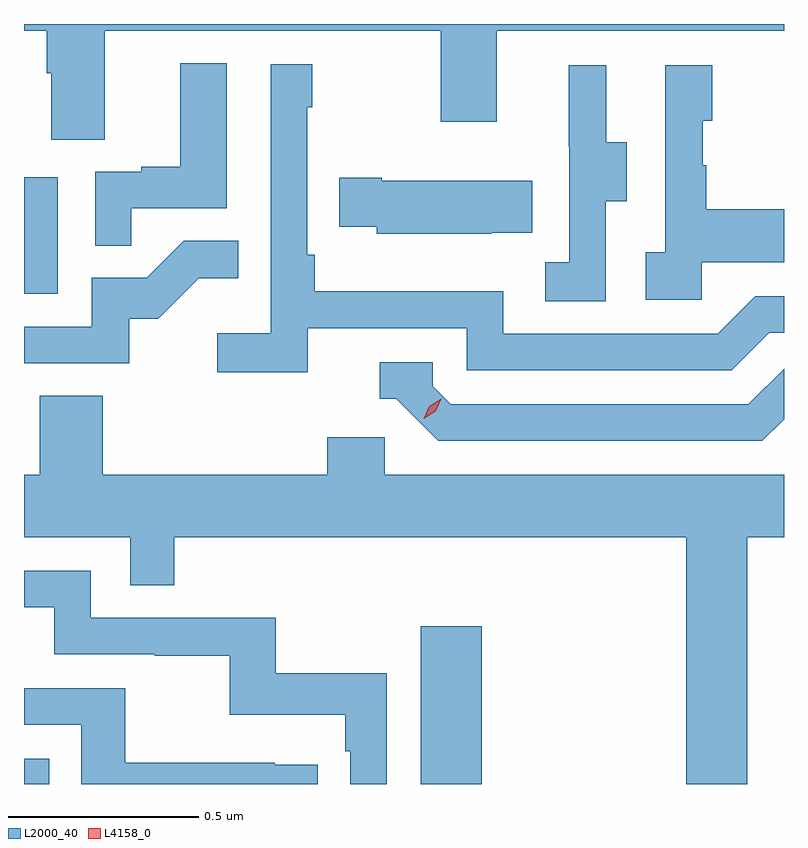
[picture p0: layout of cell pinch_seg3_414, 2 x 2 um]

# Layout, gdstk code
import gdstk
lib = gdstk.Library(unit=1e-6, precision=1e-09)
def R(c, l, rs):  # rectangles x0, y0, x1, y1
    for r in rs: c.add(gdstk.rectangle(r[:2], r[2:], *l))
def P(c, l, *ps):  # polygons
    for p in ps: c.add(gdstk.Polygon(p, *l))
L2000_40 = (2000, 40)
L4158_0 = (4158, 0)

pinch_seg3_414 = lib.new_cell('pinch_seg3_414')
R(pinch_seg3_414, L2000_40, [(938.177,697.602,938.243,697.668), (939.221,697.602,939.382,698.017), (938.177,698.892,938.266,699.199)])
P(pinch_seg3_414, L2000_40, [(938.389,699.584),(939.274,699.584),(939.274,699.345),(939.421,699.345),(939.421,699.584),(940.177,699.584),(940.177,699.602),(938.177,699.602),(938.177,699.584),(938.237,699.584),(938.237,699.472),(938.249,699.472),(938.249,699.298),(938.389,699.298)],
  [(938.459,699.117),(938.71,699.117),(938.71,699.499),(938.588,699.499),(938.588,699.226),(938.485,699.226),(938.485,699.213),(938.364,699.213),(938.364,699.019),(938.459,699.019)],
  [(938.924,698.802),(939.342,698.802),(939.342,698.691),(940.039,698.691),(940.138,698.79),(940.177,698.79),(940.177,698.886),(940.101,698.886),(940.002,698.787),(939.438,698.787),(939.438,698.899),(938.942,698.899),(938.942,698.995),(938.922,698.995),(938.922,699.383),(938.935,699.383),(938.935,699.496),(938.826,699.496),(938.826,698.788),(938.685,698.788),(938.685,698.686),(938.924,698.686)],
  [(939.96,698.975),(940.177,698.975),(940.177,699.115),(939.973,699.115),(939.973,699.23),(939.963,699.23),(939.963,699.348),(939.988,699.348),(939.988,699.493),(939.864,699.493),(939.864,699.002),(939.813,699.002),(939.813,698.877),(939.96,698.877)],
  [(939.708,699.136),(939.763,699.136),(939.763,699.291),(939.709,699.291),(939.709,699.493),(939.611,699.493),(939.611,699.279),(939.612,699.279),(939.612,698.975),(939.549,698.975),(939.549,698.872),(939.708,698.872)],
  [(939.407,699.053),(939.515,699.053),(939.515,699.19),(939.118,699.19),(939.118,699.198),(939.007,699.198),(939.007,699.068),(939.105,699.068),(939.105,699.05),(939.407,699.05)],
  [(938.454,698.826),(938.53,698.826),(938.637,698.933),(938.741,698.933),(938.741,699.032),(938.598,699.032),(938.5,698.934),(938.355,698.934),(938.355,698.805),(938.177,698.805),(938.177,698.709),(938.454,698.709)],
  [(940.177,698.562),(940.177,698.695),(940.083,698.601),(939.3,698.601),(939.252,698.649),(939.252,698.712),(939.113,698.712),(939.113,698.616),(939.156,698.616),(939.267,698.505),(940.12,698.505)],
  [(940.08,698.252),(940.177,698.252),(940.177,698.416),(939.126,698.416),(939.126,698.514),(938.975,698.514),(938.975,698.416),(938.384,698.416),(938.384,698.624),(938.219,698.624),(938.219,698.416),(938.177,698.416),(938.177,698.252),(938.457,698.252),(938.457,698.125),(938.573,698.125),(938.573,698.252),(939.92,698.252),(939.92,697.602),(940.08,697.602)],
  [(939.132,697.894),(938.839,697.894),(938.839,698.04),(938.352,698.04),(938.352,698.163),(938.177,698.163),(938.177,698.067),(938.256,698.067),(938.256,697.944),(938.521,697.944),(938.521,697.939),(938.718,697.939),(938.718,697.784),(939.023,697.784),(939.023,697.688),(939.036,697.688),(939.036,697.602),(939.132,697.602)],
  [(938.95,697.653),(938.837,697.653),(938.837,697.658),(938.444,697.658),(938.444,697.854),(938.177,697.854),(938.177,697.758),(938.328,697.758),(938.328,697.602),(938.95,697.602)])
P(pinch_seg3_414, L4158_0, [(939.229,698.563),(939.229,698.563),(939.244,698.596),(939.275,698.616),(939.275,698.616),(939.275,698.616),(939.26,698.583),(939.229,698.563)])

lib.write_gds('pinch_seg3_414.gds')
